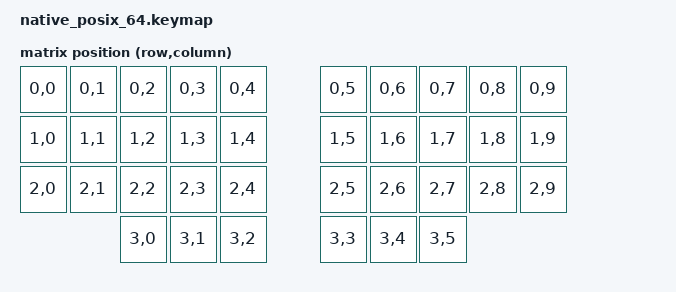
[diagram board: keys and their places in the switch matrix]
#include <dt-bindings/zmk/matrix_transform.h>
#include <dt-bindings/zmk/kscan_mock.h>

/ {
    chosen {
        zmk,matrix-transform = &transform;
    };

    /* op36 position N is RC(N/10, N%10); thumbs 30..35 are row 3. */
    transform: keymap_transform {
        compatible = "zmk,matrix-transform";
        columns = <10>;
        rows = <4>;
        map = <
            RC(0,0) RC(0,1) RC(0,2) RC(0,3) RC(0,4) RC(0,5) RC(0,6) RC(0,7) RC(0,8) RC(0,9)
            RC(1,0) RC(1,1) RC(1,2) RC(1,3) RC(1,4) RC(1,5) RC(1,6) RC(1,7) RC(1,8) RC(1,9)
            RC(2,0) RC(2,1) RC(2,2) RC(2,3) RC(2,4) RC(2,5) RC(2,6) RC(2,7) RC(2,8) RC(2,9)
            RC(3,0) RC(3,1) RC(3,2) RC(3,3) RC(3,4) RC(3,5)
        >;
    };
};

&kscan {
    rows = <4>;
    columns = <10>;
    events = <
        /* lead-in so require-prior-idle-ms sees real idle time */
        ZMK_MOCK_PRESS(0,1,10)
        ZMK_MOCK_RELEASE(0,1,400)

        /* cmbru leaves en for ru: one Globe. */
        ZMK_MOCK_PRESS(3,1,5)
        ZMK_MOCK_PRESS(3,4,20)
        ZMK_MOCK_RELEASE(3,1,10)
        ZMK_MOCK_RELEASE(3,4,300)

        /* Hold right Cmd (pos 16) past its term, then strike the switch combo
           under it. It must not fire: the modifier raises en_letters over ru,
           and a combo's `layers` is checked against the highest active layer
           only, so neither cmbru nor cmben is armed there. No Globe may appear
           between these two events, and ru must still be active at the end.

           That refusal is the answer this key needs. Running either direction
           from under the modifier would be a guess about which language the
           user is in, and the one that guessed wrong desynced the host. */
        ZMK_MOCK_PRESS(1,6,350)
        ZMK_MOCK_PRESS(3,1,5)
        ZMK_MOCK_PRESS(3,4,20)
        ZMK_MOCK_RELEASE(3,1,10)
        ZMK_MOCK_RELEASE(3,4,200)
        ZMK_MOCK_RELEASE(1,6,300)

        /* Position 32 under the same modifier is Escape now, and that is safe:
           Cmd+Esc is a shortcut, not a language switch. 0x29 with 0xE7 down. */
        ZMK_MOCK_PRESS(1,6,350)
        ZMK_MOCK_PRESS(3,2,30)
        ZMK_MOCK_RELEASE(3,2,200)
        ZMK_MOCK_RELEASE(1,6,300)

        /* Which layer did we end on? pos 1 is й (0x14) on ru, W (0x1A) on en. */
        ZMK_MOCK_PRESS(0,1,30)
        ZMK_MOCK_RELEASE(0,1,200)
    >;
};

#include "/cfg/op36_ruen.keymap"
